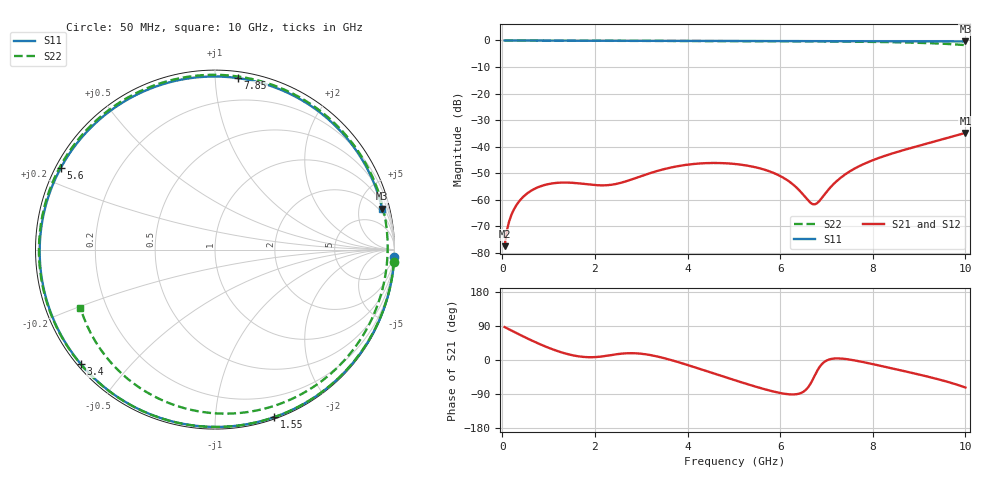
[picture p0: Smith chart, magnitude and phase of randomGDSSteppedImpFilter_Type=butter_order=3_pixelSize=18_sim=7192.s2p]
! freq	dB(S11)	phase(S11)	dB(S12)	phase(S12)
!  dB(S21)	phase(S21)	dB(S22)	phase(S22)
!S-par simulation data
#  GHz  S  DB  R 50
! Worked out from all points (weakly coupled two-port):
!   200 points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, 50 MHz to 10 GHz, reference 50 ohm
!   highest |S21| = -34.82 dB at 10 GHz (marker M1); lowest = -77.5 dB at 50 MHz (marker M2)
!   lowest |S11| = -0.4 dB at 10 GHz (marker M3), VSWR 47.51, Z = 71.2 + j402 ohm
!   |S11| at or under -10 dB: nowhere
!   |S22| runs from -1.8 to 0.0 dB; largest |S21 - S12| = 0
!   S11 on the Smith chart (normalised r, x): 50 MHz: 0, -48; 1.55 GHz: 0.01, -1.41; 3.4 GHz: 0.01, -0.37; 5.6 GHz: 0.01, +0.25; 7.85 GHz: 0.04, +1.14; 10 GHz: 1.42, +8.04
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0.05  -0.00 -2.4  -77.48 86.9  -77.48 86.9  -0.00 -3.9
0.1  -0.01 -4.8  -71.48 83.7  -71.48 83.7  -0.01 -7.9
0.2  -0.01 -9.6  -65.54 77.5  -65.54 77.5  -0.02 -15.7
0.45  -0.03 -21.4  -58.93 62.3  -58.93 62.3  -0.05 -34.9
1  -0.06 -46.7  -54.08 32.2  -54.08 32.2  -0.09 -75.0
1.55  -0.08 -70.6  -53.66 11.7  -53.66 11.7  -0.12 -111.2
1.75  -0.09 -78.9  -54.00 8.2  -54.00 8.2  -0.13 -123.4
2.15  -0.11 -94.9  -54.58 9.3  -54.58 9.3  -0.15 -146.4
2.55  -0.12 -109.9  -53.66 16.4  -53.66 16.4  -0.16 -167.9
2.95  -0.14 -124.2  -51.39 17.1  -51.39 17.1  -0.17 171.6
3.4  -0.15 -139.5  -48.89 7.7  -48.89 7.7  -0.19 149.3
4.25  -0.19 -166.8  -46.35 -22.9  -46.35 -22.9  -0.21 108.5
5.05  -0.22 168.7  -46.57 -54.5  -46.57 -54.5  -0.25 70.8
5.6  -0.24 152.1  -48.35 -74.9  -48.35 -74.9  -0.27 45.4
6.2  -0.27 133.9  -53.19 -90.6  -53.19 -90.6  -0.31 18.4
6.7  -0.29 118.6  -61.64 -52.6  -61.64 -52.6  -0.34 -3.2
7.35  -0.31 98.3  -51.13 3.5  -51.13 3.5  -0.42 -30.3
7.85  -0.32 82.4  -46.19 -6.9  -46.19 -6.9  -0.51 -50.5
8.35  -0.33 66.3  -42.95 -20.3  -42.95 -20.3  -0.63 -70.8
9.25  -0.34 37.4  -38.46 -45.7  -38.46 -45.7  -1.04 -110.7
9.65  -0.35 24.7  -36.53 -58.8  -36.53 -58.8  -1.35 -132.6
10  -0.37 13.8  -34.82 -72.6  -34.82 -72.6  -1.76 -156.7
